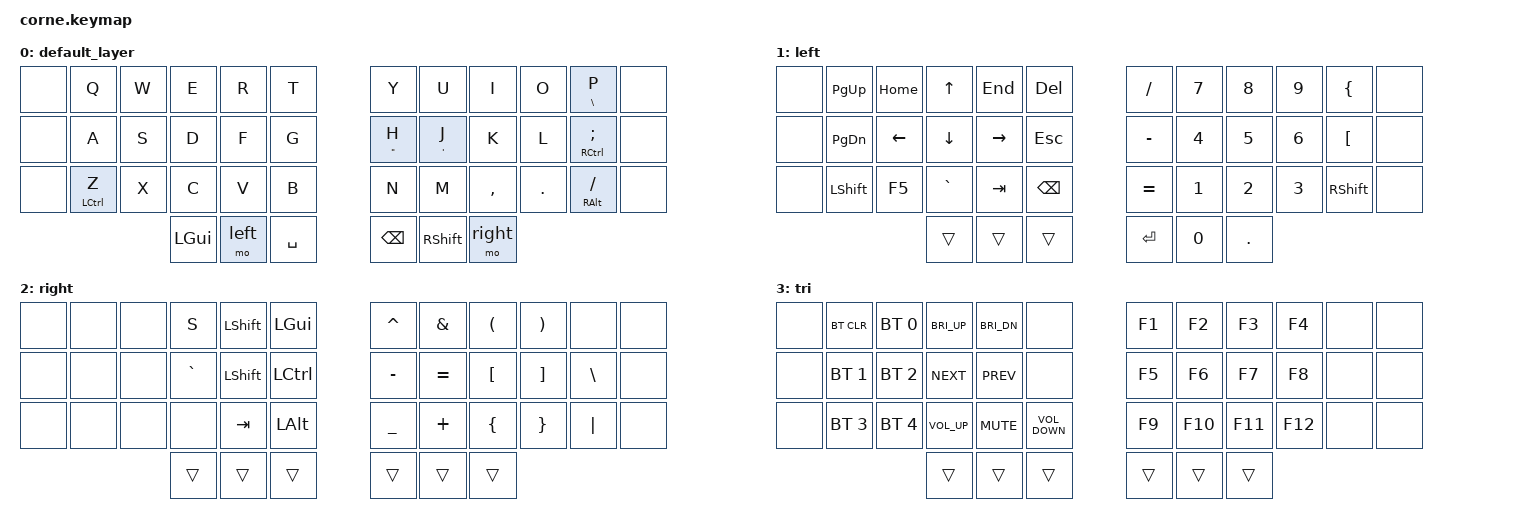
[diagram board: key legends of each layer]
/*
 * Copyright (c) 2020 The ZMK Contributors
 *
 * SPDX-License-Identifier: MIT
 */

#include <behaviors.dtsi>
#include <dt-bindings/zmk/keys.h>
#include <dt-bindings/zmk/bt.h>

#define default_layer 0
#define left 1
#define right 2
#define tri 3

&mt {
        tapping-term-ms=<300>;
};

/ {
        conditional_layers {
                compatible = "zmk,conditional-layers";
                tri_layer {
                        if-layers = <left right>;
                        then-layer = <tri>;
                };
        };

        keymap {
                compatible = "zmk,keymap";
                default_layer {
// -----------------------------------------------------------------------------------------
// ||  Q  |  W  |  E  |  R  | T   |---|  Y  |  U   |  I[  |  O] |  P\|    ||
// ||  A  |  S  |  D  |  F  | G   |---| " H |  J'  |  K{  |  L} | RCTRL;: ||
// ||CTRLZ|  X  |  C  |  V  | B   |---| N   |  M   |  ,<  |  .> | (/?)RALT||
//              | GUI | LWR | SPC |---| BKSP|RSHFT | RSE  |
                        bindings = <
   &none &kp Q       &kp W    &kp E    &kp R     &kp T       &kp Y                 &kp  U     &kp I      &kp O     &mt BSLH P          &none
   &none &kp A       &kp S    &kp D    &kp F     &kp G       &mt DOUBLE_QUOTES H   &mt APOS J &kp K      &kp L     &mt RCTRL SEMICOLON &none
   &none &mt LCTL Z  &kp X    &kp C    &kp V     &kp B       &kp N                 &kp  M     &kp COMMA  &kp DOT   &mt RALT FSLH       &none
                     &kp LGUI &mo left &kp SPACE             &kp BKSP              &kp RSHFT  &mo right
                        >;
                };
                left {
// -----------------------------------------------------------------------------------------
// ||PGUP  | HOME|  UP | END | DEL |---|  /?  | 7&  | 8* | 9(  | LBRC ||
// ||PGDOWN| LFT | DWN | RGT | ESC |---|  -_  | 4$  | 5% | 6^  | LBKT ||
// ||LSHFT | F5  |Grave| TAB |LSHFT|---|  =+  | 1!  | 2@ | 3#  |RSHIFT||
//               |trans|trans|trans|---| RET  | 0)  |  . |
                        bindings = <
   &none &kp PAGE_UP   &kp HOME   &kp UP    &kp END    &kp DEL     &kp FSLH   &kp N7 &kp N8 &kp N9  &kp LBRC   &none
   &none &kp PAGE_DOWN &kp LEFT   &kp DOWN  &kp RIGHT  &kp ESC     &kp MINUS  &kp N4 &kp N5 &kp N6  &kp LBKT   &none
   &none &kp LSHFT     &kp F5     &kp GRAVE &kp TAB    &kp BKSP    &kp EQUAL  &kp N1 &kp N2 &kp N3  &kp RSHFT  &none
                                  &trans    &trans     &trans      &kp RET    &kp N0 &kp DOT
                        >;
                };
                right {
// -----------------------------------------------------------------------------------------
// ||     |     |S    |LSHFT|LGUI |---|  ^  |  &  |  (  |  )  |     ||
// ||     |     |GRAVE|LSHFT|LCTRL|---|  -  |  =  |  [  |  ]  |  \  ||
// ||     |     |     | TAB |LALT |---|  _  |  +  |  {  |  }  | "|" ||
//              |trans|trans|trans|---|trans|trans|trans|
                        bindings = <
   &none &none  &none &kp S     &kp LSHFT &kp LGUI    &kp CARET      &kp AMPS  &kp LPAR        &kp RPAR        &none    &none
   &none &none  &none &kp GRAVE &kp LSHFT &kp LCTRL   &kp MINUS      &kp EQUAL &kp LBKT        &kp RBKT        &kp BSLH &none
   &none &none  &none &none     &kp TAB   &kp LALT    &kp UNDERSCORE &kp PLUS  &kp LEFT_BRACE  &kp RIGHT_BRACE &kp PIPE &none
                      &trans    &trans    &trans      &trans         &trans    &trans
                        >;
                };
                tri {
// -----------------------------------------------------------------------------------------
// ||BT_CLR|BT1   |BRIUP |BRIDN |none  |---|  f1 | f2  |  f3 |  f4 |     ||
// ||BT2   |BT3   |NEXT  |Prev  |none  |---|  f5 | f6  |  f7 |  f8 |     ||
// ||BT4   |BT5   |VOLUP | MUTE |VOLDWN|---|  f9 | f10 | f11 | f12 |     ||
//                |trans |trans |none  |---|trans|trans|trans|
                        bindings = <
   &none &bt BT_CLR   &bt BT_SEL 0 &kp C_BRI_UP    &kp C_BRI_DN  &none              &kp F1   &kp F2  &kp F3  &kp F4  &none &none
   &none &bt BT_SEL 1 &bt BT_SEL 2 &kp C_NEXT      &kp C_PREV    &none              &kp F5   &kp F6  &kp F7  &kp F8  &none &none
   &none &bt BT_SEL 3 &bt BT_SEL 4 &kp C_VOLUME_UP &kp C_MUTE    &kp C_VOLUME_DOWN  &kp F9   &kp F10 &kp F11 &kp F12 &none &none
                                   &trans          &trans        &trans             &trans   &trans  &trans
                        >;
                };
        };
};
